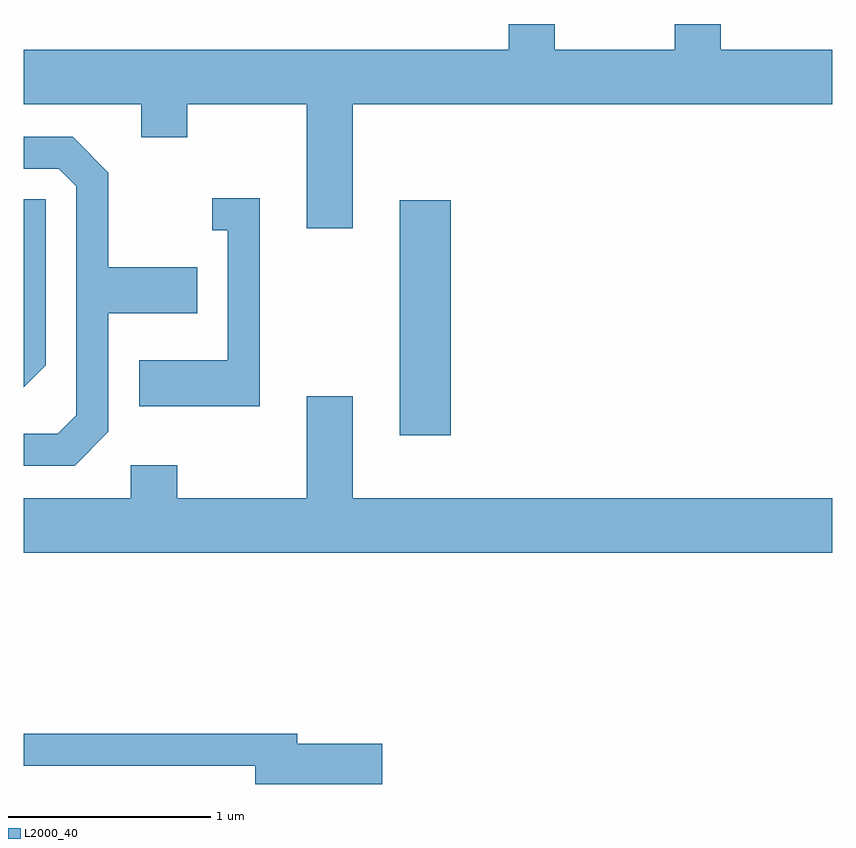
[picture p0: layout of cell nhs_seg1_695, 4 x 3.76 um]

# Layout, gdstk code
import gdstk
lib = gdstk.Library(unit=1e-6, precision=1e-09)
def R(c, l, rs):  # rectangles x0, y0, x1, y1
    for r in rs: c.add(gdstk.rectangle(r[:2], r[2:], *l))
def P(c, l, *ps):  # polygons
    for p in ps: c.add(gdstk.Polygon(p, *l))
L2000_40 = (2000, 40)

nhs_seg1_695 = lib.new_cell('nhs_seg1_695')
R(nhs_seg1_695, L2000_40, [(207.471,935.676,207.724,936.839)])
P(nhs_seg1_695, L2000_40, [(207.239,937.316),(209.611,937.316),(209.611,937.584),(209.059,937.584),(209.059,937.712),(208.831,937.712),(208.831,937.584),(208.239,937.584),(208.239,937.712),(208.011,937.712),(208.011,937.584),(205.611,937.584),(205.611,937.316),(206.191,937.316),(206.191,937.151),(206.419,937.151),(206.419,937.316),(207.011,937.316),(207.011,936.701),(207.239,936.701)],
  [(206.029,935.694),(206.029,936.281),(206.469,936.281),(206.469,936.509),(206.029,936.509),(206.029,936.977),(205.852,937.154),(205.611,937.154),(205.611,936.996),(205.784,936.996),(205.871,936.909),(205.871,935.777),(205.779,935.684),(205.611,935.684),(205.611,935.526),(205.862,935.526)],
  [(206.779,936.849),(206.543,936.849),(206.543,936.691),(206.621,936.691),(206.621,936.049),(206.181,936.049),(206.181,935.821),(206.779,935.821)],
  [(205.719,936.024),(205.719,936.844),(205.611,936.844),(205.611,935.915)],
  [(209.611,935.364),(207.239,935.364),(207.239,935.869),(207.011,935.869),(207.011,935.364),(206.369,935.364),(206.369,935.529),(206.141,935.529),(206.141,935.364),(205.611,935.364),(205.611,935.096),(209.611,935.096)],
  [(207.384,934.149),(206.964,934.149),(206.964,934.199),(205.611,934.199),(205.611,934.041),(206.756,934.041),(206.756,933.951),(207.384,933.951)])

lib.write_gds('nhs_seg1_695.gds')
